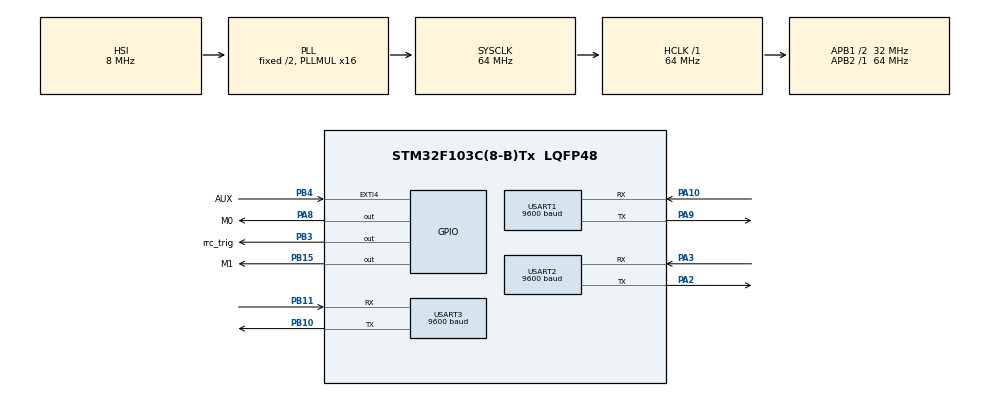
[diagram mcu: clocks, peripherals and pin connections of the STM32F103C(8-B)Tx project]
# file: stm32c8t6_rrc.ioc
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Mcu.Family=STM32F1
Mcu.Name=STM32F103C(8-B)Tx
Mcu.Package=LQFP48
NVIC.EXTI4_IRQn=true\:0\:0\:false\:false\:true\:true\:true\:true
NVIC.PriorityGroup=NVIC_PRIORITYGROUP_4
NVIC.USART1_IRQn=true\:0\:0\:false\:false\:true\:true\:true\:true
NVIC.USART3_IRQn=true\:0\:0\:false\:false\:true\:true\:true\:true
PA10.Mode=Asynchronous
PA10.Signal=USART1_RX
PA13.Mode=Serial_Wire
PA13.Signal=SYS_JTMS-SWDIO
PA14.Mode=Serial_Wire
PA14.Signal=SYS_JTCK-SWCLK
PA2.Mode=Asynchronous
PA2.Signal=USART2_TX
PA3.Mode=Asynchronous
PA3.Signal=USART2_RX
PA8.GPIO_Label=M0
PA8.Signal=GPIO_Output
PA9.Mode=Asynchronous
PA9.Signal=USART1_TX
PB10.Mode=Asynchronous
PB10.Signal=USART3_TX
PB11.Mode=Asynchronous
PB11.Signal=USART3_RX
PB15.GPIO_Label=M1
PB15.Signal=GPIO_Output
PB3.GPIO_Label=rrc_trig
PB3.Signal=GPIO_Output
PB4.GPIO_Label=AUX
PB4.Signal=GPXTI4
PD0-OSC_IN.Mode=HSE-External-Oscillator
PD0-OSC_IN.Signal=RCC_OSC_IN
PD1-OSC_OUT.Mode=HSE-External-Oscillator
PD1-OSC_OUT.Signal=RCC_OSC_OUT
ProjectManager.HeapSize=0x200
ProjectManager.StackSize=0x400
ProjectManager.TargetToolchain=STM32CubeIDE
RCC.AHBFreq_Value=64000000
RCC.APB1CLKDivider=RCC_HCLK_DIV2
RCC.APB1Freq_Value=32000000
RCC.APB1TimFreq_Value=64000000
RCC.APB2Freq_Value=64000000
RCC.APB2TimFreq_Value=64000000
RCC.HCLKFreq_Value=64000000
RCC.PLLMUL=RCC_PLL_MUL16
RCC.SYSCLKFreq_VALUE=64000000
RCC.SYSCLKSource=RCC_SYSCLKSOURCE_PLLCLK
RCC.USBFreq_Value=64000000
USART1.BaudRate=9600
USART1.VirtualMode=VM_ASYNC
USART2.BaudRate=9600
USART2.VirtualMode=VM_ASYNC
USART3.BaudRate=9600
USART3.VirtualMode=VM_ASYNC
board=custom

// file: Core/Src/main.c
/* USER CODE BEGIN Header */
/**
  ******************************************************************************
  * @file           : main.c
  * @brief          : Main program body
  ******************************************************************************
  * @attention
  *
  * Copyright (c) 2023 STMicroelectronics.
  * All rights reserved.
  *
  * This software is licensed under terms that can be found in the LICENSE file
  * in the root directory of this software component.
  * If no LICENSE file comes with this software, it is provided AS-IS.
  *
  ******************************************************************************
  */
/* USER CODE END Header */
#include "main.h"
#include "usart.h"
#include "gpio.h"

/* USER CODE BEGIN Includes */
//standart c libraries
#include "stdint.h"
#include "stdio.h"
#include "math.h"
#include "string.h"

//Sensor libraries
#include "lwgps.h"

#include "lora_lib.h"
#include "E32Lora.h"
/* USER CODE END Includes */

/* USER CODE BEGIN PTD */
lwgps_t gps; //gps struct
//rrc_t rrc

dataPaket_t     paket;
Variables_t     variable = { .telemTimer = 0 , .firstinit = 1  , .u8_buffer = { 0 } , .u8_counter = 0};
dataStruct_t    data     ;
GcsPaket_t      gcsStructPaket;

/* USER CODE END PTD */

/* USER CODE BEGIN PD */
#define CURRENT_NODE ROCKET_NODE_2	//node information

#define MESSAGE_LENGTH  sizeof(message)
#define RECV_LENTH		sizeof(recv)
#define DATA_PKT_LENGTH sizeof( dataPaket_t )

/* USER CODE END PD */

void SystemClock_Config(void);

/* USER CODE BEGIN 0 */
uint8_t gpsrx_buffer[256];
uint8_t gpsrx_index = 0;
uint8_t gpsrx_data = 0;

uint8_t lora_buffer[256];
uint8_t lora_index = 0;
uint8_t lora_data = 0;

uint8_t rrc_buffer[256];
uint8_t rrc_index = 0;
uint8_t rrc_data=0;

void HAL_UART_RxCpltCallback(UART_HandleTypeDef *huart)	//interrupt ile tetiklenerek gps verilerini alır
{
	if(huart == &huart1) //gpsin bağlı olduğu uart kanalı
	{
		if(gpsrx_data != '\n' && gpsrx_index < sizeof(gpsrx_buffer)) {
			gpsrx_buffer[gpsrx_index++] = gpsrx_data; //buffera data aktarılır
		} else {
			lwgps_process(&gps, gpsrx_buffer, gpsrx_index+1);//data parser
			gpsrx_index = 0;
			gpsrx_data = 0;//gelen data tekrar sıfıra eşitlenir
		}
		HAL_UART_Receive_IT(&huart1, &gpsrx_data, 1);
	}

	if(huart == &huart3) //RRCnin bağlı olduğu uart kanalı
		{
			if(rrc_data != '\r' && rrc_index < sizeof(rrc_buffer)) {
				rrc_buffer[rrc_index++] = rrc_data; //buffera data aktarılır
			} else {
				//lwgps_process(&rrc, rrc_buffer, rrc_index+1);//data parser
				rrc_index = 0;
				rrc_data = 0;//gelen data tekrar sıfıra eşitlenir
				for(uint8_t i=0 ; i<50 ; i++){

					rrc_buffer[i]=0;
				}
			}
			HAL_UART_Receive_IT(&huart3, &rrc_data, 1);
		}

}

uint8_t message[ 3 ]={0xc1, 0xc1, 0xc1 };
uint8_t recv[ 6 ]={0xff,0xff,0xff,0xff,0xff,0xff};

/* USER CODE END 0 */

int main(void)
{
  /* USER CODE BEGIN 1 */
uint8_t lrdly;
  /* USER CODE END 1 */

  /* MCU Configuration--------------------------------------------------------*/

  /* Reset of all peripherals, Initializes the Flash interface and the Systick. */
  HAL_Init();

  /* Configure the system clock */
  SystemClock_Config();

  /* Initialize all configured peripherals */
  MX_GPIO_Init();
  MX_USART1_UART_Init();
  MX_USART2_UART_Init();
  MX_USART3_UART_Init();
  /* USER CODE BEGIN 2 */

  lwgps_init(&gps);
  //lora lib init
  E32_Init(M0_GPIO_Port, M0_Pin, M1_GPIO_Port, M1_Pin, AUX_GPIO_Port, AUX_Pin, &huart2);
  E32_SetMode(SLEEP_MODE);
  HAL_Delay(50);

  // Lora'nın , var olan configini okuyoruz.*********************
  uint8_t status = HAL_UART_Transmit(&huart2, message, MESSAGE_LENGTH , 2000);
  status = HAL_UART_Receive(&huart2,recv, RECV_LENTH,2000);//config oku
  HAL_Delay(50);

  //activate lora normal mod
  HAL_GPIO_WritePin(M0_GPIO_Port ,M0_Pin, GPIO_PIN_RESET);
  HAL_GPIO_WritePin(M1_GPIO_Port, M1_Pin, GPIO_PIN_RESET);
  HAL_Delay(200);

  HAL_UART_Receive_IT(&huart1, &gpsrx_data, 1);//uart1den gelen interruptları almak için

  HAL_UART_Receive_IT(&huart3, &rrc_data, 1);

  /* USER CODE END 2 */

  /* Infinite loop */
  while (1)
  {

    /* USER CODE BEGIN 3 */

	  if ( variable.firstinit )
	  	  	{
	  	  		initDataPaket( &paket,  CURRENT_NODE );
	  	  		variable.firstinit  = 0;
	  	  		memset( &data , 0  , sizeof( dataStruct_t ) );
	  	  		variable.telemTimer = HAL_GetTick();

	  	  	}

	  	  data.roket_gps_enlem= gps.latitude;
	  	  data.roket_gps_boylam = gps.longitude;
	  /*
	  	  data.roket_gps_enlem = 39.927170 ;
	  	  data.roket_gps_boylam = 32.835861;
	  */
	  	  data.roket_gps_irtifa = gps.altitude;
	  	  data.acc_x+= 1;
	  	  data.acc_y+=2;
	  	  data.acc_z+=3;
	  	  data.angle+=4;
	  	  data.gyro_x+=5;
	  	  data.gyro_y+=6;
	  	  data.gyro_z+=7;
	  	  data.irtifa = gps.altitude;
	  	  data.status=+2;

	  if ( HAL_GetTick() - (variable.telemTimer)  >= 3000 )
	  	{

		  veriPaketle( &paket,  &data);
		  verileriYolla( paket.u8_array , DATA_PKT_LENGTH );
		  lrdly++;
		  variable.telemTimer = HAL_GetTick();

	  	}

  }
  /* USER CODE END 3 */
}

void SystemClock_Config(void)
{
  RCC_OscInitTypeDef RCC_OscInitStruct = {0};
  RCC_ClkInitTypeDef RCC_ClkInitStruct = {0};

  /** Initializes the RCC Oscillators according to the specified parameters
  * in the RCC_OscInitTypeDef structure.
  */
  RCC_OscInitStruct.OscillatorType = RCC_OSCILLATORTYPE_HSI;
  RCC_OscInitStruct.HSIState = RCC_HSI_ON;
  RCC_OscInitStruct.HSICalibrationValue = RCC_HSICALIBRATION_DEFAULT;
  RCC_OscInitStruct.PLL.PLLState = RCC_PLL_ON;
  RCC_OscInitStruct.PLL.PLLSource = RCC_PLLSOURCE_HSI_DIV2;
  RCC_OscInitStruct.PLL.PLLMUL = RCC_PLL_MUL16;
  if (HAL_RCC_OscConfig(&RCC_OscInitStruct) != HAL_OK)
  {
    Error_Handler();
  }

  /** Initializes the CPU, AHB and APB buses clocks
  */
  RCC_ClkInitStruct.ClockType = RCC_CLOCKTYPE_HCLK|RCC_CLOCKTYPE_SYSCLK
                              |RCC_CLOCKTYPE_PCLK1|RCC_CLOCKTYPE_PCLK2;
  RCC_ClkInitStruct.SYSCLKSource = RCC_SYSCLKSOURCE_PLLCLK;
  RCC_ClkInitStruct.AHBCLKDivider = RCC_SYSCLK_DIV1;
  RCC_ClkInitStruct.APB1CLKDivider = RCC_HCLK_DIV2;
  RCC_ClkInitStruct.APB2CLKDivider = RCC_HCLK_DIV1;

  if (HAL_RCC_ClockConfig(&RCC_ClkInitStruct, FLASH_LATENCY_2) != HAL_OK)
  {
    Error_Handler();
  }
}

void Error_Handler(void)
{
  __disable_irq();
  while (1)
  {
  }
}
